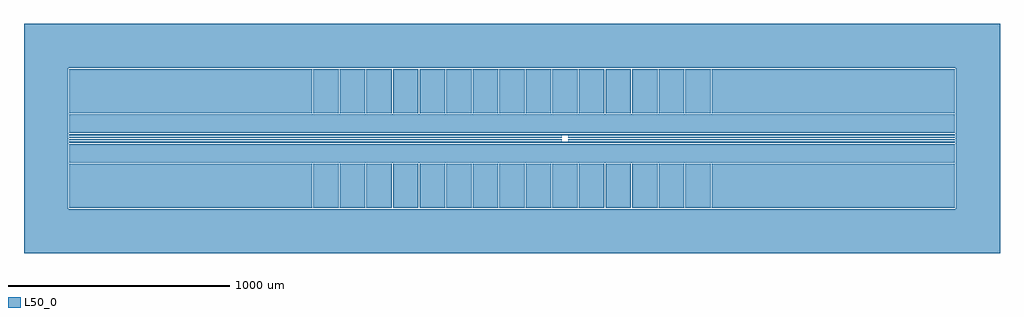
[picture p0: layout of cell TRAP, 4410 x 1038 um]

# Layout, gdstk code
import gdstk
lib = gdstk.Library(unit=1e-6, precision=1e-09)
def R(c, l, rs):  # rectangles x0, y0, x1, y1
    for r in rs: c.add(gdstk.rectangle(r[:2], r[2:], *l))
def A(c, l, x, y, w, h, nx, ny, dx, dy):  # array of equal rectangles
    R(c, l, [(x+i*dx, y+j*dy, x+i*dx+w, y+j*dy+h) for i in range(nx) for j in range(ny)])
def P(c, l, *ps):  # polygons
    for p in ps: c.add(gdstk.Polygon(p, *l))
L50_0 = (50, 0)

trap = lib.new_cell('TRAP')
A(trap, L50_0, -897.5, -314, 115, 200, 15, 2, 120, 428)
R(trap, L50_0, [(-2000,-314,-902.5,-114), (902.5,-314,2000,-114), (-2000,-109,2000,-25), (-2000,-7.5,225,-2.5), (255,-7.5,2000,-2.5), (-2000,2.5,225,7.5), (255,2.5,2000,7.5), (-2000,25,2000,109), (-2000,114,-902.5,314), (902.5,114,2000,314)])
P(trap, L50_0, [(2000,20),(-2000,20),(-2000,12.5),(225,12.5),(225,15),(255,15),(255,12.5),(2000,12.5)],
  [(2000,-12.5),(255,-12.5),(255,-15),(225,-15),(225,-12.5),(-2000,-12.5),(-2000,-20),(2000,-20)],
  [(2205,519),(-2205,519),(-2205,-319),(-2005,-319),(-2005,319),(2005,319),(2005,-319),(-2005,-319),(-2205,-319),(-2205,-519),(2205,-519)])

lib.write_gds('TRAP.gds')
